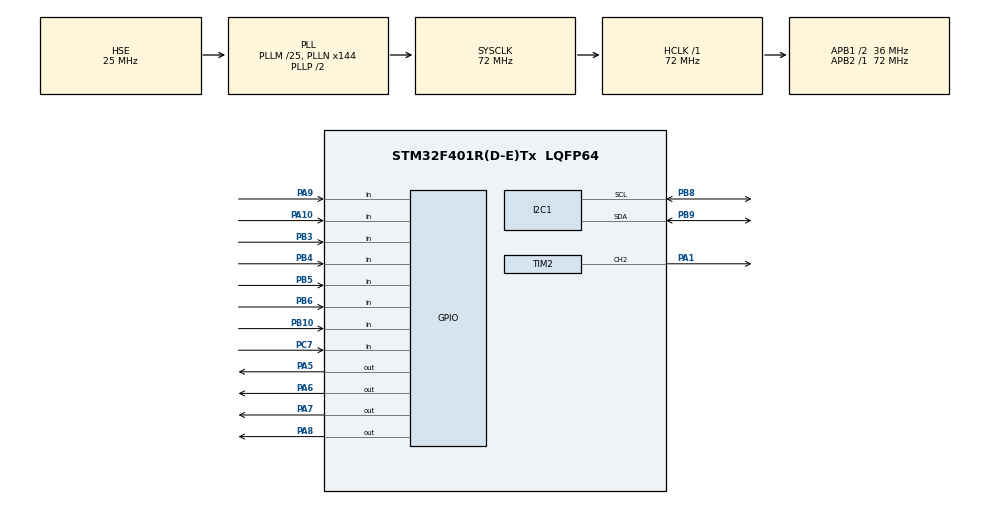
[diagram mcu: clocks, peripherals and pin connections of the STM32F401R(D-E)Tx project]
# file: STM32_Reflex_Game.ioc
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Mcu.Family=STM32F4
Mcu.Name=STM32F401R(D-E)Tx
Mcu.Package=LQFP64
NVIC.PriorityGroup=NVIC_PRIORITYGROUP_4
PA1.Signal=S_TIM2_CH2
PA10.GPIO_PuPd=GPIO_PULLUP
PA10.Signal=GPIO_Input
PA5.Signal=GPIO_Output
PA6.Signal=GPIO_Output
PA7.Signal=GPIO_Output
PA8.Signal=GPIO_Output
PA9.GPIO_PuPd=GPIO_PULLUP
PA9.Signal=GPIO_Input
PB10.GPIO_PuPd=GPIO_PULLUP
PB10.Signal=GPIO_Input
PB3.GPIO_PuPd=GPIO_PULLUP
PB3.Signal=GPIO_Input
PB4.GPIO_PuPd=GPIO_PULLUP
PB4.Signal=GPIO_Input
PB5.GPIO_PuPd=GPIO_PULLUP
PB5.Signal=GPIO_Input
PB6.GPIO_PuPd=GPIO_PULLUP
PB6.Signal=GPIO_Input
PB8.Mode=I2C
PB8.Signal=I2C1_SCL
PB9.Mode=I2C
PB9.Signal=I2C1_SDA
PC7.GPIO_PuPd=GPIO_PULLUP
PC7.Signal=GPIO_Input
PH0\ -\ OSC_IN.Mode=HSE-External-Oscillator
PH0\ -\ OSC_IN.Signal=RCC_OSC_IN
PH1\ -\ OSC_OUT.Mode=HSE-External-Oscillator
PH1\ -\ OSC_OUT.Signal=RCC_OSC_OUT
ProjectManager.HeapSize=0x200
ProjectManager.StackSize=0x400
ProjectManager.TargetToolchain=STM32CubeIDE
RCC.48MHZClocksFreq_Value=36000000
RCC.AHBFreq_Value=72000000
RCC.APB1CLKDivider=RCC_HCLK_DIV2
RCC.APB1Freq_Value=36000000
RCC.APB1TimFreq_Value=72000000
RCC.APB2Freq_Value=72000000
RCC.APB2TimFreq_Value=72000000
RCC.CortexFreq_Value=72000000
RCC.HCLKFreq_Value=72000000
RCC.HSE_VALUE=25000000
RCC.HSI_VALUE=16000000
RCC.LSE_VALUE=32768
RCC.PLLM=25
RCC.PLLN=144
RCC.PLLSourceVirtual=RCC_PLLSOURCE_HSE
RCC.SYSCLKFreq_VALUE=72000000
RCC.SYSCLKSource=RCC_SYSCLKSOURCE_PLLCLK
RCC.VCOOutputFreq_Value=144000000
SH.S_TIM2_CH2.0=TIM2_CH2,PWM Generation2 CH2
TIM2.Channel-PWM\ Generation2\ CH2=TIM_CHANNEL_2
TIM2.Period=999
TIM2.Prescaler=71
TIM2.Pulse-PWM\ Generation2\ CH2=500
TIM5.Prescaler=71
VP_TIM2_VS_ClockSourceINT.Mode=Internal
VP_TIM5_VS_ClockSourceINT.Mode=Internal
board=custom

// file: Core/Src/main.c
/* USER CODE BEGIN Header */
/**
  ******************************************************************************
  * @file           : main.c
  * @brief          : Main program body
  ******************************************************************************
  * @attention
  *
  * Copyright (c) 2026 STMicroelectronics.
  * All rights reserved.
  *
  * This software is licensed under terms that can be found in the LICENSE file
  * in the root directory of this software component.
  * If no LICENSE file comes with this software, it is provided AS-IS.
  *
  ******************************************************************************
  */
/* USER CODE END Header */
#include "main.h"

/* USER CODE BEGIN Includes */
#include "ssd1306.h"
#include "buzzer.h"
/* USER CODE END Includes */

/* USER CODE BEGIN PD */
#define HAVE_OLED 0   /* set to 1 when the OLED is connected again */
/* USER CODE END PD */

I2C_HandleTypeDef hi2c1;

TIM_HandleTypeDef htim2;
TIM_HandleTypeDef htim5;

void SystemClock_Config(void);
static void MX_GPIO_Init(void);
static void MX_I2C1_Init(void);
static void MX_TIM2_Init(void);
static void MX_TIM5_Init(void);
/* USER CODE BEGIN PFP */
void Shift_out(uint8_t data);
/* USER CODE END PFP */

int main(void)
{

  /* MCU Configuration--------------------------------------------------------*/

  /* Reset of all peripherals, Initializes the Flash interface and the Systick. */
  HAL_Init();

  /* Configure the system clock */
  SystemClock_Config();

  /* Initialize all configured peripherals */
  MX_GPIO_Init();
  MX_I2C1_Init();
  MX_TIM2_Init();
  MX_TIM5_Init();
  /* USER CODE BEGIN 2 */
  HAL_TIM_PWM_Start(&htim2, TIM_CHANNEL_2);

#if HAVE_OLED
  SSD1306_init();
  for (uint16_t i = 0; i < SSD1306_WIDTH * SSD1306_HEIGHT / 8; i++) SSD1306_Buffer[i] = 0x00;
  SSD1306_Update();
#endif

  // ---- Boot self-test ----
  Buzzer_Play(NOTE_C5, 120);   // startup chirp
  Buzzer_Stop();
  Shift_out(0x00);             // clear the LED bar
  HAL_Delay(200);

  /* USER CODE END 2 */

  /* Infinite loop */
  /* USER CODE BEGIN WHILE */
  while (1)
  {
	  // 1) Walk one LED up the bar (Q0 -> Q7), a rising note per step
	      const uint16_t up[8] = { NOTE_C4, NOTE_D4, NOTE_E4, NOTE_F4,
	                               NOTE_G4, NOTE_A4, NOTE_B4, NOTE_C5 };
	      for (uint8_t i = 0; i < 8; i++) {
	        Shift_out((uint8_t)(1U << i));
	        Buzzer_Play(up[i], 120);
	        Buzzer_Stop();
	        HAL_Delay(40);
	      }

	      // 2) Walk it back down (Q6 -> Q0)
	      for (int8_t i = 6; i >= 0; i--) {
	        Shift_out((uint8_t)(1U << i));
	        Buzzer_Play(up[i], 90);
	        Buzzer_Stop();
	        HAL_Delay(40);
	      }

	      // 3) All LEDs + onboard LED (PA5) + a longer high note
	      Shift_out(0xFF);
	      HAL_GPIO_WritePin(GPIOA, GPIO_PIN_5, GPIO_PIN_SET);
	  #if HAVE_OLED
	      for (uint16_t i = 0; i < SSD1306_WIDTH * SSD1306_HEIGHT / 8; i++) SSD1306_Buffer[i] = 0xFF;
	      SSD1306_Update();
	  #endif
	      Buzzer_Play(NOTE_C5, 300);
	      Buzzer_Stop();

	      // 4) Reset and pause before repeating
	      Shift_out(0x00);
	      HAL_GPIO_WritePin(GPIOA, GPIO_PIN_5, GPIO_PIN_RESET);
	  #if HAVE_OLED
	      for (uint16_t i = 0; i < SSD1306_WIDTH * SSD1306_HEIGHT / 8; i++) SSD1306_Buffer[i] = 0x00;
	      SSD1306_Update();
	  #endif
	      HAL_Delay(700);
    /* USER CODE END WHILE */

  }
}

void SystemClock_Config(void)
{
  RCC_OscInitTypeDef RCC_OscInitStruct = {0};
  RCC_ClkInitTypeDef RCC_ClkInitStruct = {0};

  /** Configure the main internal regulator output voltage
  */
  __HAL_RCC_PWR_CLK_ENABLE();
  __HAL_PWR_VOLTAGESCALING_CONFIG(PWR_REGULATOR_VOLTAGE_SCALE2);

  /** Initializes the RCC Oscillators according to the specified parameters
  * in the RCC_OscInitTypeDef structure.
  */
  RCC_OscInitStruct.OscillatorType = RCC_OSCILLATORTYPE_HSE;
  RCC_OscInitStruct.HSEState = RCC_HSE_ON;
  RCC_OscInitStruct.PLL.PLLState = RCC_PLL_ON;
  RCC_OscInitStruct.PLL.PLLSource = RCC_PLLSOURCE_HSE;
  RCC_OscInitStruct.PLL.PLLM = 25;
  RCC_OscInitStruct.PLL.PLLN = 144;
  RCC_OscInitStruct.PLL.PLLP = RCC_PLLP_DIV2;
  RCC_OscInitStruct.PLL.PLLQ = 4;
  if (HAL_RCC_OscConfig(&RCC_OscInitStruct) != HAL_OK)
  {
    Error_Handler();
  }

  /** Initializes the CPU, AHB and APB buses clocks
  */
  RCC_ClkInitStruct.ClockType = RCC_CLOCKTYPE_HCLK|RCC_CLOCKTYPE_SYSCLK
                              |RCC_CLOCKTYPE_PCLK1|RCC_CLOCKTYPE_PCLK2;
  RCC_ClkInitStruct.SYSCLKSource = RCC_SYSCLKSOURCE_PLLCLK;
  RCC_ClkInitStruct.AHBCLKDivider = RCC_SYSCLK_DIV1;
  RCC_ClkInitStruct.APB1CLKDivider = RCC_HCLK_DIV2;
  RCC_ClkInitStruct.APB2CLKDivider = RCC_HCLK_DIV1;

  if (HAL_RCC_ClockConfig(&RCC_ClkInitStruct, FLASH_LATENCY_2) != HAL_OK)
  {
    Error_Handler();
  }
}

static void MX_I2C1_Init(void)
{

  hi2c1.Instance = I2C1;
  hi2c1.Init.ClockSpeed = 100000;
  hi2c1.Init.DutyCycle = I2C_DUTYCYCLE_2;
  hi2c1.Init.OwnAddress1 = 0;
  hi2c1.Init.AddressingMode = I2C_ADDRESSINGMODE_7BIT;
  hi2c1.Init.DualAddressMode = I2C_DUALADDRESS_DISABLE;
  hi2c1.Init.OwnAddress2 = 0;
  hi2c1.Init.GeneralCallMode = I2C_GENERALCALL_DISABLE;
  hi2c1.Init.NoStretchMode = I2C_NOSTRETCH_DISABLE;
  if (HAL_I2C_Init(&hi2c1) != HAL_OK)
  {
    Error_Handler();
  }

}

static void MX_TIM2_Init(void)
{

  TIM_ClockConfigTypeDef sClockSourceConfig = {0};
  TIM_MasterConfigTypeDef sMasterConfig = {0};
  TIM_OC_InitTypeDef sConfigOC = {0};

  htim2.Instance = TIM2;
  htim2.Init.Prescaler = 71;
  htim2.Init.CounterMode = TIM_COUNTERMODE_UP;
  htim2.Init.Period = 999;
  htim2.Init.ClockDivision = TIM_CLOCKDIVISION_DIV1;
  htim2.Init.AutoReloadPreload = TIM_AUTORELOAD_PRELOAD_DISABLE;
  if (HAL_TIM_Base_Init(&htim2) != HAL_OK)
  {
    Error_Handler();
  }
  sClockSourceConfig.ClockSource = TIM_CLOCKSOURCE_INTERNAL;
  if (HAL_TIM_ConfigClockSource(&htim2, &sClockSourceConfig) != HAL_OK)
  {
    Error_Handler();
  }
  if (HAL_TIM_PWM_Init(&htim2) != HAL_OK)
  {
    Error_Handler();
  }
  sMasterConfig.MasterOutputTrigger = TIM_TRGO_RESET;
  sMasterConfig.MasterSlaveMode = TIM_MASTERSLAVEMODE_DISABLE;
  if (HAL_TIMEx_MasterConfigSynchronization(&htim2, &sMasterConfig) != HAL_OK)
  {
    Error_Handler();
  }
  sConfigOC.OCMode = TIM_OCMODE_PWM1;
  sConfigOC.Pulse = 500;
  sConfigOC.OCPolarity = TIM_OCPOLARITY_HIGH;
  sConfigOC.OCFastMode = TIM_OCFAST_DISABLE;
  if (HAL_TIM_PWM_ConfigChannel(&htim2, &sConfigOC, TIM_CHANNEL_2) != HAL_OK)
  {
    Error_Handler();
  }
  HAL_TIM_MspPostInit(&htim2);

}

static void MX_TIM5_Init(void)
{

  TIM_ClockConfigTypeDef sClockSourceConfig = {0};
  TIM_MasterConfigTypeDef sMasterConfig = {0};

  htim5.Instance = TIM5;
  htim5.Init.Prescaler = 71;
  htim5.Init.CounterMode = TIM_COUNTERMODE_UP;
  htim5.Init.Period = 4294967295;
  htim5.Init.ClockDivision = TIM_CLOCKDIVISION_DIV1;
  htim5.Init.AutoReloadPreload = TIM_AUTORELOAD_PRELOAD_DISABLE;
  if (HAL_TIM_Base_Init(&htim5) != HAL_OK)
  {
    Error_Handler();
  }
  sClockSourceConfig.ClockSource = TIM_CLOCKSOURCE_INTERNAL;
  if (HAL_TIM_ConfigClockSource(&htim5, &sClockSourceConfig) != HAL_OK)
  {
    Error_Handler();
  }
  sMasterConfig.MasterOutputTrigger = TIM_TRGO_RESET;
  sMasterConfig.MasterSlaveMode = TIM_MASTERSLAVEMODE_DISABLE;
  if (HAL_TIMEx_MasterConfigSynchronization(&htim5, &sMasterConfig) != HAL_OK)
  {
    Error_Handler();
  }

}

static void MX_GPIO_Init(void)
{
  GPIO_InitTypeDef GPIO_InitStruct = {0};

  /* GPIO Ports Clock Enable */
  __HAL_RCC_GPIOH_CLK_ENABLE();
  __HAL_RCC_GPIOA_CLK_ENABLE();
  __HAL_RCC_GPIOB_CLK_ENABLE();
  __HAL_RCC_GPIOC_CLK_ENABLE();

  /*Configure GPIO pin Output Level */
  HAL_GPIO_WritePin(GPIOA, GPIO_PIN_5|GPIO_PIN_6|GPIO_PIN_7|GPIO_PIN_8, GPIO_PIN_RESET);

  /*Configure GPIO pins : PA5 PA6 PA7 PA8 */
  GPIO_InitStruct.Pin = GPIO_PIN_5|GPIO_PIN_6|GPIO_PIN_7|GPIO_PIN_8;
  GPIO_InitStruct.Mode = GPIO_MODE_OUTPUT_PP;
  GPIO_InitStruct.Pull = GPIO_NOPULL;
  GPIO_InitStruct.Speed = GPIO_SPEED_FREQ_LOW;
  HAL_GPIO_Init(GPIOA, &GPIO_InitStruct);

  /*Configure GPIO pins : PB10 PB3 PB4 PB5
                           PB6 */
  GPIO_InitStruct.Pin = GPIO_PIN_10|GPIO_PIN_3|GPIO_PIN_4|GPIO_PIN_5
                          |GPIO_PIN_6;
  GPIO_InitStruct.Mode = GPIO_MODE_INPUT;
  GPIO_InitStruct.Pull = GPIO_PULLUP;
  HAL_GPIO_Init(GPIOB, &GPIO_InitStruct);

  /*Configure GPIO pin : PC7 */
  GPIO_InitStruct.Pin = GPIO_PIN_7;
  GPIO_InitStruct.Mode = GPIO_MODE_INPUT;
  GPIO_InitStruct.Pull = GPIO_PULLUP;
  HAL_GPIO_Init(GPIOC, &GPIO_InitStruct);

  /*Configure GPIO pins : PA9 PA10 */
  GPIO_InitStruct.Pin = GPIO_PIN_9|GPIO_PIN_10;
  GPIO_InitStruct.Mode = GPIO_MODE_INPUT;
  GPIO_InitStruct.Pull = GPIO_PULLUP;
  HAL_GPIO_Init(GPIOA, &GPIO_InitStruct);

}

/* USER CODE BEGIN 4 */
void Shift_out(uint8_t data){
	for(uint8_t i=0; i<8; i++)
	{
		if ((data >> i) & 1U)
			HAL_GPIO_WritePin(GPIOA, GPIO_PIN_6, GPIO_PIN_SET);
		else
			HAL_GPIO_WritePin(GPIOA, GPIO_PIN_6, GPIO_PIN_RESET);
		HAL_GPIO_WritePin(GPIOA, GPIO_PIN_7, GPIO_PIN_SET);
		HAL_GPIO_WritePin(GPIOA, GPIO_PIN_7, GPIO_PIN_RESET);
	}
	HAL_GPIO_WritePin(GPIOA, GPIO_PIN_8, GPIO_PIN_SET);
	HAL_GPIO_WritePin(GPIOA, GPIO_PIN_8, GPIO_PIN_RESET);

}

/* USER CODE END 4 */

void Error_Handler(void)
{
  __disable_irq();
  while (1)
  {
  }
}
